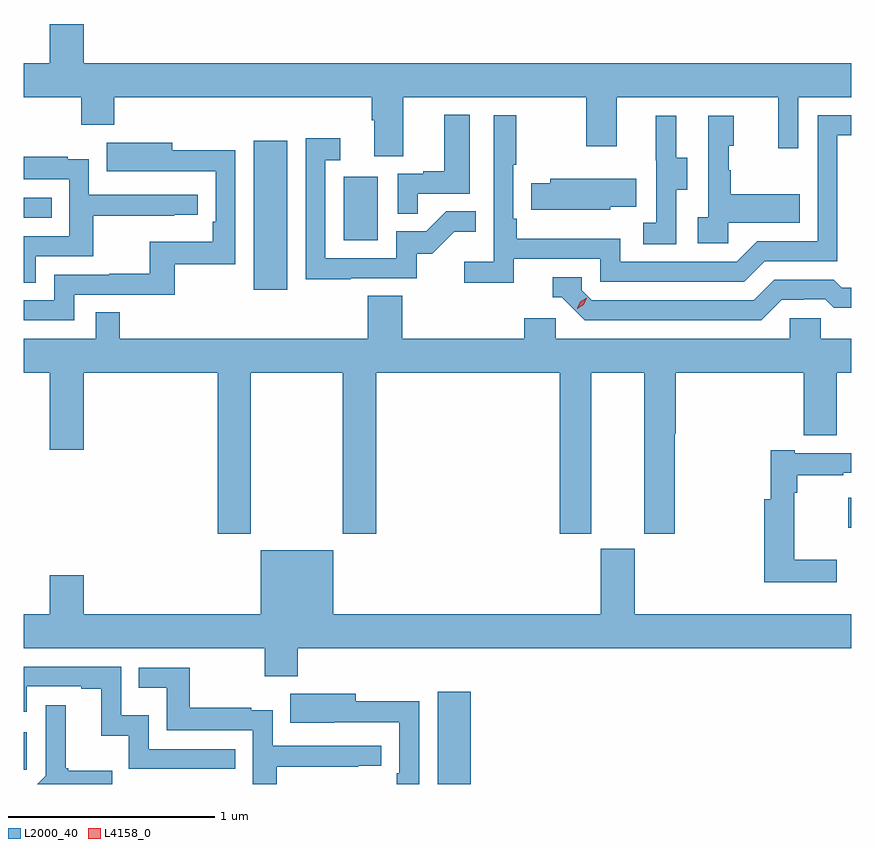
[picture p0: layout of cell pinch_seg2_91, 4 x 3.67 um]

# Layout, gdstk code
import gdstk
lib = gdstk.Library(unit=1e-6, precision=1e-09)
def R(c, l, rs):  # rectangles x0, y0, x1, y1
    for r in rs: c.add(gdstk.rectangle(r[:2], r[2:], *l))
def P(c, l, *ps):  # polygons
    for p in ps: c.add(gdstk.Polygon(p, *l))
L2000_40 = (2000, 40)
L4158_0 = (4158, 0)

pinch_seg2_91 = lib.new_cell('pinch_seg2_91')
R(pinch_seg2_91, L2000_40, [(1065.983,629.663,1066.144,630.109), (1063.983,629.733,1063.998,629.913), (1067.969,630.901,1067.983,631.048), (1065.095,632.052,1065.256,632.773), (1065.53,632.292,1065.694,632.599), (1063.983,632.4,1064.117,632.496)])
P(pinch_seg2_91, L2000_40, [(1065.817,632.984),(1066.702,632.984),(1066.702,632.745),(1066.849,632.745),(1066.849,632.984),(1067.63,632.984),(1067.63,632.736),(1067.727,632.736),(1067.727,632.984),(1067.983,632.984),(1067.983,633.148),(1064.272,633.148),(1064.272,633.337),(1064.108,633.337),(1064.108,633.148),(1063.983,633.148),(1063.983,632.984),(1064.26,632.984),(1064.26,632.849),(1064.42,632.849),(1064.42,632.984),(1065.665,632.984),(1065.665,632.872),(1065.677,632.872),(1065.677,632.698),(1065.817,632.698)],
  [(1065.887,632.517),(1066.138,632.517),(1066.138,632.899),(1066.016,632.899),(1066.016,632.626),(1065.913,632.626),(1065.913,632.613),(1065.792,632.613),(1065.792,632.419),(1065.887,632.419)],
  [(1066.352,632.202),(1066.77,632.202),(1066.77,632.091),(1067.467,632.091),(1067.566,632.19),(1067.916,632.19),(1067.916,632.799),(1067.983,632.799),(1067.983,632.895),(1067.82,632.895),(1067.82,632.286),(1067.529,632.286),(1067.43,632.187),(1066.866,632.187),(1066.866,632.299),(1066.367,632.299),(1066.367,632.395),(1066.35,632.395),(1066.35,632.656),(1066.363,632.656),(1066.363,632.896),(1066.254,632.896),(1066.254,632.188),(1066.113,632.188),(1066.113,632.086),(1066.352,632.086)],
  [(1067.388,632.375),(1067.735,632.375),(1067.735,632.515),(1067.401,632.515),(1067.401,632.63),(1067.391,632.63),(1067.391,632.748),(1067.416,632.748),(1067.416,632.893),(1067.292,632.893),(1067.292,632.402),(1067.241,632.402),(1067.241,632.277),(1067.388,632.277)],
  [(1067.136,632.536),(1067.191,632.536),(1067.191,632.691),(1067.137,632.691),(1067.137,632.893),(1067.039,632.893),(1067.039,632.679),(1067.04,632.679),(1067.04,632.375),(1066.977,632.375),(1066.977,632.272),(1067.136,632.272)],
  [(1065.563,632.109),(1065.882,632.109),(1065.882,632.226),(1065.958,632.226),(1066.065,632.333),(1066.169,632.333),(1066.169,632.432),(1066.026,632.432),(1065.928,632.334),(1065.783,632.334),(1065.783,632.205),(1065.441,632.205),(1065.441,632.679),(1065.514,632.679),(1065.514,632.785),(1065.345,632.785),(1065.345,632.104),(1065.563,632.104)],
  [(1064.226,632.028),(1064.713,632.028),(1064.713,632.175),(1065.006,632.175),(1065.006,632.726),(1064.701,632.726),(1064.701,632.764),(1064.383,632.764),(1064.383,632.624),(1064.597,632.624),(1064.597,632.625),(1064.91,632.625),(1064.91,632.38),(1064.897,632.38),(1064.897,632.284),(1064.592,632.284),(1064.592,632.129),(1064.395,632.129),(1064.395,632.124),(1064.13,632.124),(1064.13,632.001),(1063.983,632.001),(1063.983,631.905),(1064.226,631.905)],
  [(1064.041,632.214),(1064.318,632.214),(1064.318,632.41),(1064.711,632.41),(1064.711,632.415),(1064.824,632.415),(1064.824,632.511),(1064.298,632.511),(1064.298,632.683),(1064.195,632.683),(1064.195,632.695),(1063.983,632.695),(1063.983,632.586),(1064.202,632.586),(1064.202,632.31),(1063.983,632.31),(1063.983,632.086),(1064.041,632.086)],
  [(1066.818,632.453),(1066.943,632.453),(1066.943,632.59),(1066.529,632.59),(1066.529,632.568),(1066.435,632.568),(1066.435,632.439),(1066.546,632.439),(1066.546,632.438),(1066.818,632.438)],
  [(1067.647,632.004),(1067.754,632.004),(1067.754,632.007),(1067.857,632.007),(1067.899,631.965),(1067.983,631.965),(1067.983,632.061),(1067.938,632.061),(1067.899,632.1),(1067.61,632.1),(1067.511,632.001),(1066.728,632.001),(1066.68,632.049),(1066.68,632.112),(1066.541,632.112),(1066.541,632.016),(1066.584,632.016),(1066.695,631.905),(1067.548,631.905)],
  [(1065.081,631.652),(1065.526,631.652),(1065.526,630.873),(1065.686,630.873),(1065.686,631.652),(1066.574,631.652),(1066.574,630.873),(1066.726,630.873),(1066.726,631.652),(1066.982,631.652),(1066.982,630.873),(1067.13,630.873),(1067.13,631.356),(1067.135,631.356),(1067.135,631.652),(1067.753,631.652),(1067.753,631.348),(1067.912,631.348),(1067.912,631.652),(1067.983,631.652),(1067.983,631.816),(1067.835,631.816),(1067.835,631.914),(1067.685,631.914),(1067.685,631.816),(1066.554,631.816),(1066.554,631.914),(1066.403,631.914),(1066.403,631.816),(1065.812,631.816),(1065.812,632.024),(1065.647,632.024),(1065.647,631.816),(1064.447,631.816),(1064.447,631.943),(1064.331,631.943),(1064.331,631.816),(1063.983,631.816),(1063.983,631.652),(1064.108,631.652),(1064.108,631.278),(1064.272,631.278),(1064.272,631.652),(1064.921,631.652),(1064.921,630.873),(1065.081,630.873)],
  [(1067.914,630.748),(1067.708,630.748),(1067.708,631.07),(1067.723,631.07),(1067.723,631.155),(1067.945,631.155),(1067.945,631.167),(1067.983,631.167),(1067.983,631.263),(1067.71,631.263),(1067.71,631.276),(1067.595,631.276),(1067.595,631.039),(1067.563,631.039),(1067.563,630.638),(1067.914,630.638)],
  [(1065.308,630.32),(1067.983,630.32),(1067.983,630.484),(1066.936,630.484),(1066.936,630.801),(1066.772,630.801),(1066.772,630.484),(1065.478,630.484),(1065.478,630.793),(1065.128,630.793),(1065.128,630.484),(1064.272,630.484),(1064.272,630.673),(1064.108,630.673),(1064.108,630.484),(1063.983,630.484),(1063.983,630.32),(1065.148,630.32),(1065.148,630.185),(1065.308,630.185)],
  [(1065.005,629.832),(1064.586,629.832),(1064.586,629.995),(1064.454,629.995),(1064.454,630.231),(1063.983,630.231),(1063.983,630.012),(1063.998,630.012),(1063.998,630.135),(1064.261,630.135),(1064.261,630.123),(1064.357,630.123),(1064.357,629.897),(1064.49,629.897),(1064.49,629.736),(1065.005,629.736)],
  [(1065.206,629.746),(1065.599,629.746),(1065.599,629.751),(1065.712,629.751),(1065.712,629.847),(1065.186,629.847),(1065.186,630.019),(1065.083,630.019),(1065.083,630.031),(1064.785,630.031),(1064.785,630.225),(1064.539,630.225),(1064.539,630.128),(1064.674,630.128),(1064.674,629.922),(1065.09,629.922),(1065.09,629.663),(1065.206,629.663)],
  [(1065.894,630.062),(1065.589,630.062),(1065.589,630.1),(1065.271,630.1),(1065.271,629.96),(1065.485,629.96),(1065.485,629.961),(1065.798,629.961),(1065.798,629.716),(1065.785,629.716),(1065.785,629.663),(1065.894,629.663)],
  [(1064.41,629.728),(1064.197,629.728),(1064.197,629.74),(1064.185,629.74),(1064.185,630.043),(1064.088,630.043),(1064.088,629.703),(1064.048,629.663),(1064.41,629.663)])
P(pinch_seg2_91, L4158_0, [(1066.658,631.961),(1066.658,631.962),(1066.674,631.994),(1066.705,632.014),(1066.705,632.014),(1066.705,632.013),(1066.689,631.981),(1066.659,631.961)])

lib.write_gds('pinch_seg2_91.gds')
